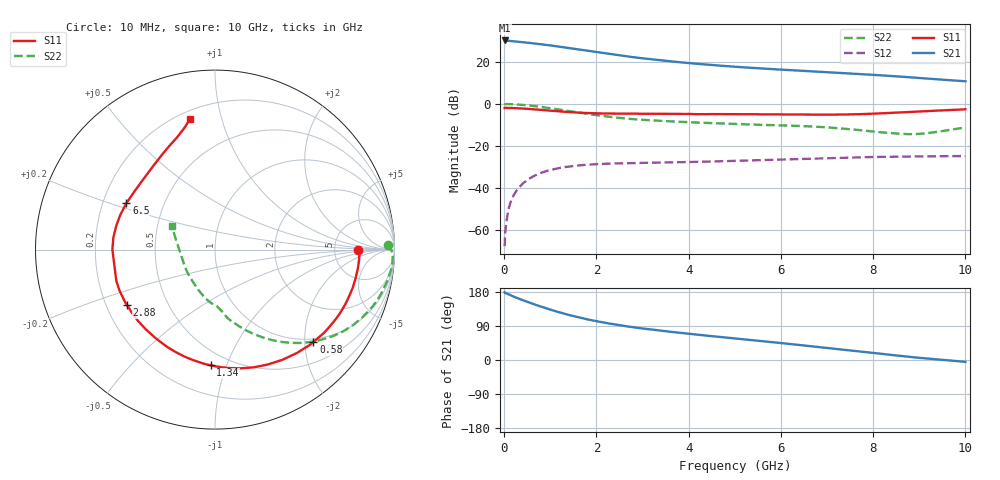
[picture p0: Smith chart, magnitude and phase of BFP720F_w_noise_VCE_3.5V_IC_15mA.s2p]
! Infineon Technologies  Discrete & RF Semiconductors
! BFP720F
! VCE =  3.5 V,  IC =  15 mA
! Common Emitter S-Parameters:  Jan 2016
# GHz  S  MA  R  50
!  f  S11  S21  S12  S22
! GHz  MAG  ANG  MAG  ANG  MAG  ANG  MAG  ANG
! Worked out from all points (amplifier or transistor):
!   233 points, 10 MHz to 10 GHz, reference 50 ohm
!   highest |S21| = 30.3 dB at 10 MHz (marker M1)
!   |S21| within 3 dB of that: start of sweep to 1.208 GHz
!   unconditionally stable (mu >= 1): start of sweep to 14.09 MHz; 6.143 GHz to end of sweep
!   at 200 MHz: K = 0.10, MSG = 36.9 dB, |S12| = -43.9 dB
!   at 1.74 GHz: K = 0.38, MSG = 27.4 dB, |S12| = -29.1 dB
!   at 10 GHz: K = 1.22, MAG = 15.0 dB, |S12| = -24.9 dB
!   lowest NFmin = 0.69 dB at 450 MHz
!   S11 on the Smith chart (normalised r, x): 10 MHz: 8.80, +0.00; 580 MHz: 0.93, -2.19; 1.34 GHz: 0.40, -0.88; 2.88 GHz: 0.29, -0.27; 6.5 GHz: 0.30, +0.23; 10 GHz: 0.25, +0.80
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0.01  0.796 0.0  32.79 178.7  0.0004 6.4  0.9628 1.6
0.02  0.806 -1.2  32.44 176.5  0.0008 92.9  0.9901 -1.0
0.05  0.8051 -3.8  32.48 176.1  0.0015 87.2  0.9915 -1.9
0.155  0.7991 -11.8  31.68 170.0  0.005 82.4  0.9867 -6.8
0.26  0.7907 -19.7  30.83 164.6  0.0082 78.7  0.9719 -11.3
0.4  0.7761 -30.1  29.74 158.1  0.0124 73.6  0.9463 -17.3
0.58  0.7521 -43.2  28.41 150.1  0.0173 67.1  0.9054 -24.4
0.8  0.7195 -58.7  26.72 140.7  0.0225 59.8  0.8479 -32.4
0.92  0.7009 -66.6  25.66 135.9  0.0249 56.1  0.8126 -36.4
1.1  0.6765 -78.0  24.11 129.2  0.028 51.0  0.7598 -42.1
1.34  0.6449 -92.2  22.12 120.9  0.0312 45.0  0.6915 -48.8
1.68  0.6129 -109.9  19.49 110.6  0.0344 38.3  0.6047 -56.9
1.92  0.5977 -120.3  17.78 104.3  0.0359 34.4  0.5535 -61.8
2.2  0.5889 -130.4  16.05 97.9  0.0372 30.9  0.5049 -66.6
2.88  0.5794 -147.6  12.74 85.1  0.0387 25.6  0.4259 -74.9
3.4  0.5785 -155.6  10.97 77.4  0.0398 23.3  0.3931 -79.0
4  0.5765 -162.5  9.438 69.1  0.0409 21.7  0.3647 -81.7
5.1  0.5688 172.0  7.597 55.7  0.0438 20.3  0.3293 -85.8
6.5  0.5573 152.3  6.148 38.3  0.0487 17.8  0.295 -95.4
6.8  0.5537 147.2  5.883 34.5  0.0498 17.1  0.2833 -98.8
8.4  0.6124 117.6  4.639 13.3  0.0549 11.5  0.2003 -139.8
10  0.7429 100.7  3.472 -4.9  0.0569 6.8  0.2745 151.2
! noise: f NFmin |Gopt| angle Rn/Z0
0.45  0.69  0.24  1  0.47
0.9  0.71  0.18  6  0.15
1.8  0.75  0.16  8  0.15
2.4  0.77  0.14  12  0.13
5.5  0.93  0.11  16  0.08
10  1.1  0.32  -85  0.21
